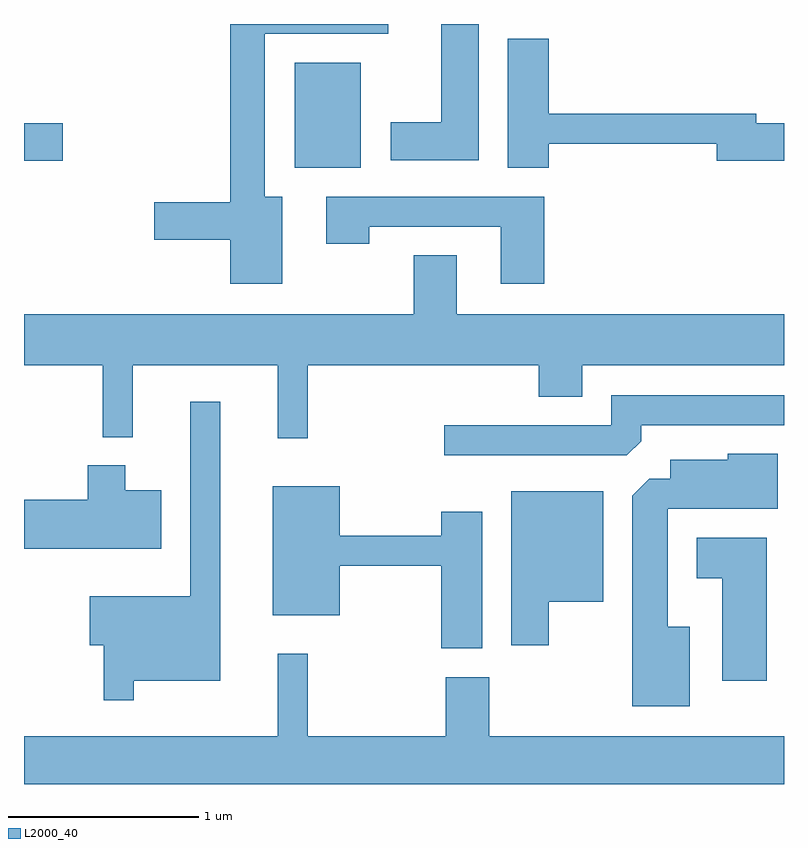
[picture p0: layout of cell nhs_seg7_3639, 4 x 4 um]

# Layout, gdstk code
import gdstk
lib = gdstk.Library(unit=1e-6, precision=1e-09)
def R(c, l, rs):  # rectangles x0, y0, x1, y1
    for r in rs: c.add(gdstk.rectangle(r[:2], r[2:], *l))
def P(c, l, *ps):  # polygons
    for p in ps: c.add(gdstk.Polygon(p, *l))
L2000_40 = (2000, 40)

nhs_seg7_3639 = lib.new_cell('nhs_seg7_3639')
R(nhs_seg7_3639, L2000_40, [(297.036,1797.496,297.384,1798.049), (295.611,1797.531,295.814,1797.729)])
P(nhs_seg7_3639, L2000_40, [(296.969,1797.344),(296.879,1797.344),(296.879,1798.201),(297.528,1798.201),(297.528,1798.252),(296.696,1798.252),(296.696,1797.314),(296.296,1797.314),(296.296,1797.116),(296.696,1797.116),(296.696,1796.886),(296.969,1796.886)],
  [(298.004,1798.252),(297.806,1798.252),(297.806,1797.734),(297.541,1797.734),(297.541,1797.536),(298.004,1797.536)],
  [(298.374,1797.621),(299.256,1797.621),(299.256,1797.531),(299.611,1797.531),(299.611,1797.729),(299.464,1797.729),(299.464,1797.779),(298.374,1797.779),(298.374,1798.174),(298.156,1798.174),(298.156,1797.496),(298.374,1797.496)],
  [(298.349,1797.344),(297.201,1797.344),(297.201,1797.096),(297.429,1797.096),(297.429,1797.186),(298.121,1797.186),(298.121,1796.886),(298.349,1796.886)],
  [(295.611,1796.456),(296.026,1796.456),(296.026,1796.078),(296.184,1796.078),(296.184,1796.456),(296.946,1796.456),(296.946,1796.073),(297.104,1796.073),(297.104,1796.456),(298.321,1796.456),(298.321,1796.291),(298.549,1796.291),(298.549,1796.456),(299.611,1796.456),(299.611,1796.724),(297.889,1796.724),(297.889,1797.034),(297.661,1797.034),(297.661,1796.724),(295.611,1796.724)],
  [(298.859,1796.057),(298.859,1796.141),(299.611,1796.141),(299.611,1796.299),(298.701,1796.299),(298.701,1796.139),(297.823,1796.139),(297.823,1795.981),(298.784,1795.981)],
  [(296.189,1794.796),(296.644,1794.796),(296.644,1796.263),(296.486,1796.263),(296.486,1795.239),(295.956,1795.239),(295.956,1794.981),(296.031,1794.981),(296.031,1794.693),(296.189,1794.693)],
  [(299.114,1795.079),(298.999,1795.079),(298.999,1795.701),(299.579,1795.701),(299.579,1795.989),(299.316,1795.989),(299.316,1795.959),(299.011,1795.959),(299.011,1795.859),(298.902,1795.859),(298.811,1795.769),(298.811,1794.661),(299.114,1794.661)],
  [(296.334,1795.799),(296.144,1795.799),(296.144,1795.929),(295.946,1795.929),(295.946,1795.749),(295.611,1795.749),(295.611,1795.491),(296.334,1795.491)],
  [(298.024,1795.684),(297.806,1795.684),(297.806,1795.559),(297.274,1795.559),(297.274,1795.819),(296.921,1795.819),(296.921,1795.141),(297.274,1795.141),(297.274,1795.401),(297.806,1795.401),(297.806,1794.966),(298.024,1794.966)],
  [(298.374,1795.211),(298.659,1795.211),(298.659,1795.794),(298.176,1795.794),(298.176,1794.981),(298.374,1794.981)],
  [(299.519,1795.549),(299.151,1795.549),(299.151,1795.336),(299.286,1795.336),(299.286,1794.796),(299.519,1794.796)],
  [(299.611,1794.504),(298.059,1794.504),(298.059,1794.814),(297.831,1794.814),(297.831,1794.504),(297.104,1794.504),(297.104,1794.938),(296.946,1794.938),(296.946,1794.504),(295.611,1794.504),(295.611,1794.252),(299.611,1794.252)])

lib.write_gds('nhs_seg7_3639.gds')
